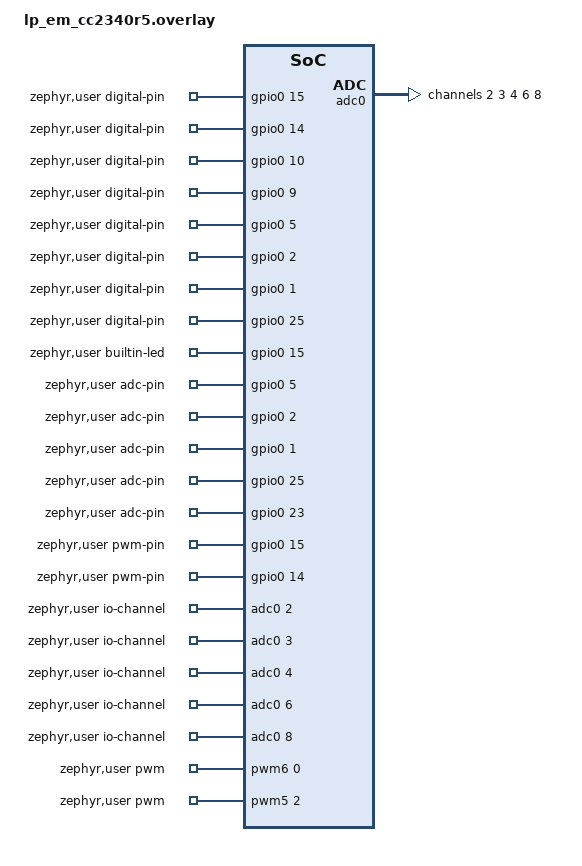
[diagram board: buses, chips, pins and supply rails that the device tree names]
/*
 * Arduino pin map for the LP-EM-CC2340R5 (ArduinoCore-zephyr static module).
 * D0 = DIO15 green LED (LED_BUILTIN), D1 = DIO14 red LED, D2 = DIO10 (S1), D3 = DIO9 (S2),
 * D4..D8 = A0..A4 = DIO5, DIO2, DIO1, DIO25, DIO23 (ADC channels 2, 3, 4, 6, 8).
 * The board file already routes those five pins to the ADC (adc0_ch2 .. adc0_ch8) and uart0 to the XDS110 backchannel.
 * PWM: D1 red LED = LGPT1 channel 2 (pinctrl DIO14_T1_C2N), D0 green LED = LGPT2 channel 0 (DIO15_T2_C0N).
 * The cell after the controller is the LGPT channel (the driver writes CnCC for that n); the board file's
 * pwm-leds node gives channel 0 for the red LED, which writes LGPT1 C0 while the pin is muxed to C2.
 * Period 1,000,000 ns = 1 kHz: 48,000 timer cycles at 48 MHz, inside the 16-bit LGPT1 and LGPT2 counters.
 * SPI and Wire: spi0 (SCLK DIO18 = BoosterPack pin 7, MOSI DIO13 = pin 15, MISO DIO12 = pin 14, CSn DIO11 = pin 18)
 * and i2c0 (SCL DIO24 = pin 9, SDA DIO0 = pin 10), pin numbers from the board's boosterpack_connector.dtsi.
 */
#include <zephyr/dt-bindings/pwm/pwm.h>
#include <zephyr/dt-bindings/adc/adc.h>

/ {
	zephyr,user {
		digital-pin-gpios = <&gpio0 15 0>,
				    <&gpio0 14 0>,
				    <&gpio0 10 0>,
				    <&gpio0 9 0>,
				    <&gpio0 5 0>,	/* A0 */
				    <&gpio0 2 0>,	/* A1 */
				    <&gpio0 1 0>,	/* A2 */
				    <&gpio0 25 0>,	/* A3 */
				    <&gpio0 23 0>;	/* A4 */

		builtin-led-gpios = <&gpio0 15 0>;

		adc-pin-gpios = <&gpio0 5 0>,
				<&gpio0 2 0>,
				<&gpio0 1 0>,
				<&gpio0 25 0>,
				<&gpio0 23 0>;

		io-channels = <&adc0 2>, <&adc0 3>, <&adc0 4>, <&adc0 6>, <&adc0 8>;

		pwm-pin-gpios = <&gpio0 15 0>,	/* D0 green */
				<&gpio0 14 0>;	/* D1 red */
		pwms = <&pwm6 0 1000000 PWM_POLARITY_NORMAL>,
		       <&pwm5 2 1000000 PWM_POLARITY_NORMAL>;

		serials = <&uart0>;
		i2cs = <&i2c0>;
		spis = <&spi0>;
	};
};

&adc0 {
	status = "okay";
	#address-cells = <1>;
	#size-cells = <0>;

	channel@2 {
		reg = <2>;
		zephyr,gain = "ADC_GAIN_1";
		zephyr,reference = "ADC_REF_VDD_1";
		zephyr,vref-mv = <3300>;
		zephyr,acquisition-time = <ADC_ACQ_TIME_DEFAULT>;
		zephyr,resolution = <12>;
	};
	channel@3 {
		reg = <3>;
		zephyr,gain = "ADC_GAIN_1";
		zephyr,reference = "ADC_REF_VDD_1";
		zephyr,vref-mv = <3300>;
		zephyr,acquisition-time = <ADC_ACQ_TIME_DEFAULT>;
		zephyr,resolution = <12>;
	};
	channel@4 {
		reg = <4>;
		zephyr,gain = "ADC_GAIN_1";
		zephyr,reference = "ADC_REF_VDD_1";
		zephyr,vref-mv = <3300>;
		zephyr,acquisition-time = <ADC_ACQ_TIME_DEFAULT>;
		zephyr,resolution = <12>;
	};
	channel@6 {
		reg = <6>;
		zephyr,gain = "ADC_GAIN_1";
		zephyr,reference = "ADC_REF_VDD_1";
		zephyr,vref-mv = <3300>;
		zephyr,acquisition-time = <ADC_ACQ_TIME_DEFAULT>;
		zephyr,resolution = <12>;
	};
	channel@8 {
		reg = <8>;
		zephyr,gain = "ADC_GAIN_1";
		zephyr,reference = "ADC_REF_VDD_1";
		zephyr,vref-mv = <3300>;
		zephyr,acquisition-time = <ADC_ACQ_TIME_DEFAULT>;
		zephyr,resolution = <12>;
	};
};
